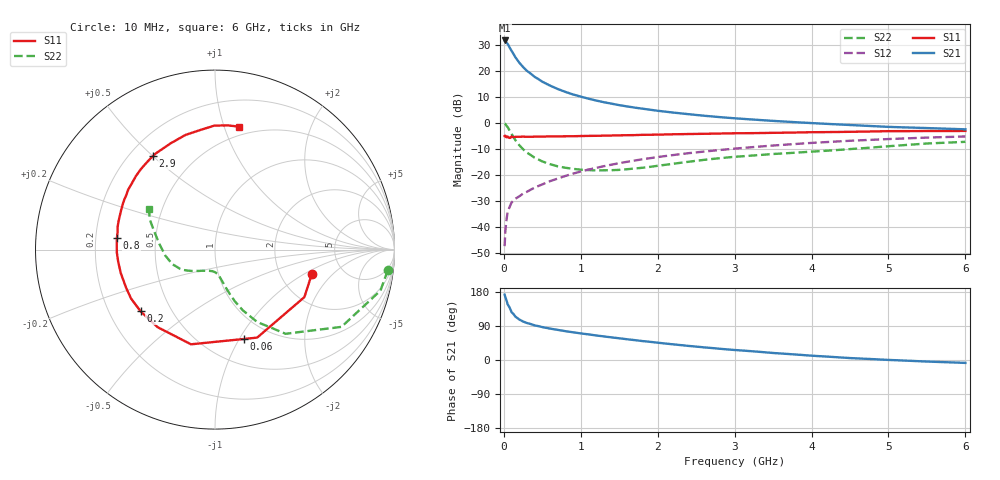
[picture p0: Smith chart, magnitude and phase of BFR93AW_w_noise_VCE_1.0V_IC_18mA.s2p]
! Infineon Technologies  Discrete & RF Semiconductors
! BFR93AW
! VCE =  1.0 V,  IC =  18 mA
! Common Emitter S-Parameters:  Jan 2017
# GHz  S  MA  R  50
!  f  S11  S21  S12  S22
! GHz  MAG  ANG  MAG  ANG  MAG  ANG  MAG  ANG
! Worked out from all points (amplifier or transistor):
!   77 points, 10 MHz to 6 GHz, reference 50 ohm
!   highest |S21| = 31.7 dB at 10 MHz (marker M1)
!   |S21| within 3 dB of that: start of sweep to 80.53 MHz
!   unconditionally stable (mu >= 1): 592.7 MHz to 2.51 GHz
!   at 130 MHz: K = 0.46, MSG = 28.1 dB, |S12| = -29.8 dB
!   at 2.2 GHz: K = 1.02, MAG = 7.3 dB, |S12| = -12.4 dB
!   at 6 GHz: K = 0.95, MSG = 1.4 dB, |S12| = -5.2 dB
!   lowest NFmin = 1.47 dB at 450 MHz
!   S11 on the Smith chart (normalised r, x): 10 MHz: 2.99, -1.19; 60 MHz: 0.76, -1.05; 200 MHz: 0.33, -0.32; 800 MHz: 0.29, +0.05; 2.9 GHz: 0.29, +0.50; 6 GHz: 0.42, +1.13
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0.01  0.5564 -14.3  38.67 172.6  0.0042 83.8  0.9691 -6.9
0.02  0.564 -28.0  38.16 165.7  0.0083 78.2  0.9498 -13.9
0.05  0.5437 -64.4  33.16 146.8  0.0191 67.1  0.826 -31.4
0.06  0.5233 -72.1  31.14 143.7  0.021 64.1  0.7779 -34.3
0.1  0.5443 -104.2  24.41 126.3  0.029 56.0  0.6124 -50.0
0.15  0.5378 -126.6  18.35 114.5  0.0344 51.7  0.4645 -59.9
0.2  0.5386 -140.4  14.47 107.0  0.0383 52.4  0.3718 -65.4
0.25  0.5414 -149.8  11.91 101.5  0.0432 53.3  0.3103 -68.9
0.3  0.539 -156.6  10.05 97.6  0.0469 54.5  0.2663 -71.3
0.4  0.5412 -166.2  7.702 91.4  0.0563 57.7  0.2129 -74.6
0.5  0.5435 -172.9  6.205 86.8  0.0651 59.9  0.1805 -77.2
0.6  0.547 -178.1  5.221 82.9  0.0751 61.9  0.1597 -79.6
0.7  0.548 177.6  4.491 79.5  0.0843 63.2  0.1451 -81.7
0.8  0.5504 173.4  3.951 76.1  0.0947 64.0  0.1363 -84.4
1.1  0.5601 163.7  2.921 67.6  0.1256 64.4  0.123 -93.7
1.5  0.5739 153.2  2.193 57.3  0.1668 62.9  0.124 -108.9
2.1  0.5965 139.3  1.642 43.5  0.2291 58.3  0.1554 -130.1
2.9  0.6252 123.5  1.257 28.1  0.3085 50.6  0.2145 -149.0
3.1  0.6305 119.8  1.195 25.0  0.3276 48.5  0.2268 -153.2
4.1  0.6612 102.9  0.972 10.2  0.4182 37.5  0.2843 -175.9
5.1  0.6914 89.0  0.827 -0.6  0.4931 26.2  0.3627 161.5
6  0.6984 78.8  0.75 -7.7  0.5467 16.4  0.4306 148.6
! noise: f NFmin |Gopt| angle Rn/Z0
0.45  1.47  0.13  155  0.14
0.9  1.74  0.23  172  0.15
1.9  2.74  0.47  -140  0.22
2.4  3.36  0.54  -127  0.43
